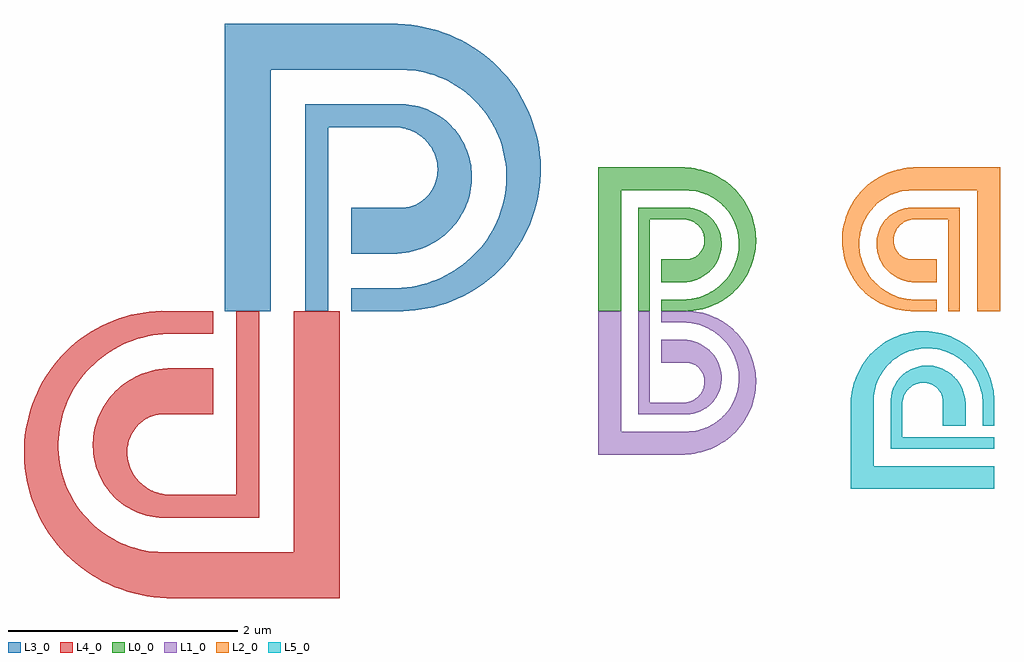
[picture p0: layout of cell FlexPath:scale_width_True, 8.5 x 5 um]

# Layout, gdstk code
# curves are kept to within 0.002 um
import gdstk
lib = gdstk.Library(unit=1e-6, precision=1e-12)
def P(c, l, *ps):  # polygons
    for p in ps: c.add(gdstk.Polygon(p, *l))
L0_0 = (0, 0)
L1_0 = (1, 0)
L2_0 = (2, 0)
L3_0 = (3, 0)
L4_0 = (4, 0)
L5_0 = (5, 0)

flexpath_scale_width_tru = lib.new_cell('FlexPath:scale_width_True')
P(flexpath_scale_width_tru, L0_0, [(0.1,0),(0.2,0),(0.2,0.8),(0.4974,0.8),(0.5233,0.7967),(0.557,0.7867),(0.5951,0.7664),(0.6271,0.7386),(0.6517,0.7051),(0.6653,0.6754),(0.6733,0.6442),(0.6756,0.6126),(0.6722,0.5816),(0.6635,0.5522),(0.6499,0.5253),(0.6321,0.5016),(0.6048,0.4776),(0.5671,0.4582),(0.5266,0.4497),(0.3,0.45),(0.3,0.25),(0.5206,0.2516),(0.568,0.2599),(0.6122,0.2741),(0.6539,0.294),(0.7042,0.3286),(0.7373,0.3599),(0.7656,0.3952),(0.7888,0.4336),(0.8111,0.4887),(0.8211,0.5318),(0.8253,0.5902),(0.8215,0.6336),(0.8077,0.6896),(0.791,0.7291),(0.761,0.7772),(0.7333,0.8092),(0.6905,0.8451),(0.6549,0.8666),(0.617,0.8829),(0.5776,0.894),(0.5372,0.8996),(0.1,0.9)],
  [(-0.25,0),(-0.05,0),(-0.05,1.05),(0.5231,1.0502),(0.5836,1.0452),(0.6432,1.032),(0.7008,1.0108),(0.7553,0.9819),(0.8056,0.9459),(0.8364,0.9181),(0.8777,0.8714),(0.9017,0.8372),(0.9319,0.782),(0.9478,0.7431),(0.965,0.6821),(0.974,0.6191),(0.9744,0.5552),(0.9662,0.4915),(0.9494,0.4292),(0.9244,0.3694),(0.8913,0.3134),(0.8509,0.262),(0.8037,0.2163),(0.7506,0.1772),(0.6925,0.1454),(0.6304,0.1217),(0.5653,0.1064),(0.5208,0.1011),(0.3,0.1),(0.3,0),(0.5524,0.0009),(0.6328,0.0112),(0.7113,0.0323),(0.7619,0.0523),(0.8107,0.0767),(0.8794,0.1214),(0.9217,0.1563),(0.9609,0.1949),(1.0128,0.2592),(1.0425,0.3058),(1.068,0.3551),(1.089,0.4065),(1.1054,0.4597),(1.1169,0.5143),(1.1236,0.5698),(1.1241,0.654),(1.1182,0.7099),(1.1072,0.7652),(1.0815,0.846),(1.0584,0.8978),(1.0307,0.9474),(0.9809,1.0168),(0.9426,1.0593),(0.9006,1.0982),(0.8551,1.1333),(0.8066,1.1642),(0.7554,1.1907),(0.7019,1.2126),(0.6183,1.2362),(0.561,1.2457),(0.5035,1.25),(-0.25,1.25)])
P(flexpath_scale_width_tru, L1_0, [(0.2,0),(0.1,0),(0.1,-0.9),(0.5372,-0.8996),(0.604,-0.8872),(0.6549,-0.8666),(0.7018,-0.8369),(0.743,-0.799),(0.777,-0.7539),(0.7971,-0.7162),(0.8158,-0.662),(0.8234,-0.6192),(0.8245,-0.561),(0.8184,-0.5173),(0.8012,-0.4607),(0.7816,-0.4205),(0.7472,-0.3713),(0.7157,-0.3386),(0.6671,-0.3018),(0.6264,-0.2801),(0.583,-0.264),(0.5374,-0.2538),(0.5002,-0.25),(0.3,-0.25),(0.3,-0.45),(0.5334,-0.4504),(0.5736,-0.4607),(0.6106,-0.4819),(0.6369,-0.5072),(0.6537,-0.5317),(0.6662,-0.5594),(0.6736,-0.5892),(0.6755,-0.6205),(0.6719,-0.6521),(0.6624,-0.683),(0.6474,-0.7122),(0.6213,-0.7447),(0.5951,-0.7664),(0.557,-0.7867),(0.5233,-0.7967),(0.4974,-0.8),(0.2,-0.8)],
  [(-0.05,0),(-0.25,0),(-0.25,-1.25),(0.5035,-1.25),(0.561,-1.2457),(0.6466,-1.2296),(0.7289,-1.2022),(0.8066,-1.1642),(0.8551,-1.1333),(0.9006,-1.0982),(0.9623,-1.0385),(1.0152,-0.9712),(1.0584,-0.8978),(1.0815,-0.846),(1.0999,-0.7925),(1.1182,-0.7099),(1.1252,-0.6259),(1.1209,-0.542),(1.1118,-0.4869),(1.0978,-0.4329),(1.068,-0.3551),(1.0282,-0.2822),(0.9791,-0.2155),(0.9417,-0.1752),(0.9009,-0.1384),(0.8342,-0.0906),(0.7866,-0.0639),(0.7368,-0.0417),(0.6593,-0.0171),(0.6061,-0.0066),(0.5524,-0.0009),(0.3,0),(0.3,-0.1),(0.5208,-0.1011),(0.5653,-0.1064),(0.6304,-0.1217),(0.6925,-0.1454),(0.7506,-0.1772),(0.8037,-0.2163),(0.8652,-0.2785),(0.9032,-0.3316),(0.9336,-0.389),(0.956,-0.4497),(0.9726,-0.5339),(0.9751,-0.5978),(0.965,-0.6821),(0.9478,-0.7431),(0.9126,-0.8193),(0.8646,-0.8876),(0.8364,-0.9181),(0.7893,-0.9587),(0.7194,-1.002),(0.6819,-1.0187),(0.6235,-1.0373),(0.5836,-1.0452),(0.5231,-1.0502),(-0.05,-1.05)])
P(flexpath_scale_width_tru, L2_0, [(2.8,0),(2.9,0),(2.9,0.9),(2.4628,0.8996),(2.396,0.8872),(2.3451,0.8666),(2.2982,0.8369),(2.257,0.799),(2.223,0.7539),(2.2029,0.7162),(2.1842,0.662),(2.1766,0.6192),(2.1755,0.561),(2.1816,0.5173),(2.1988,0.4607),(2.2184,0.4205),(2.2528,0.3713),(2.2843,0.3386),(2.3329,0.3018),(2.3736,0.2801),(2.417,0.264),(2.4626,0.2538),(2.4998,0.25),(2.7,0.25),(2.7,0.45),(2.4666,0.4504),(2.4264,0.4607),(2.3894,0.4819),(2.3631,0.5072),(2.3463,0.5317),(2.3338,0.5594),(2.3264,0.5892),(2.3245,0.6205),(2.3281,0.6521),(2.3376,0.683),(2.3526,0.7122),(2.3787,0.7447),(2.4049,0.7664),(2.443,0.7867),(2.4767,0.7967),(2.5026,0.8),(2.8,0.8)],
  [(3.05,0),(3.25,0),(3.25,1.25),(2.4965,1.25),(2.439,1.2457),(2.3534,1.2296),(2.2711,1.2022),(2.1934,1.1642),(2.1449,1.1333),(2.0994,1.0982),(2.0377,1.0385),(1.9848,0.9712),(1.9416,0.8978),(1.9185,0.846),(1.9001,0.7925),(1.8818,0.7099),(1.8748,0.6259),(1.8791,0.542),(1.8882,0.4869),(1.9022,0.4329),(1.932,0.3551),(1.9718,0.2822),(2.0209,0.2155),(2.0583,0.1752),(2.0991,0.1384),(2.1658,0.0906),(2.2134,0.0639),(2.2632,0.0417),(2.3407,0.0171),(2.3939,0.0066),(2.4476,0.0009),(2.7,0),(2.7,0.1),(2.4792,0.1011),(2.4347,0.1064),(2.3696,0.1217),(2.3075,0.1454),(2.2494,0.1772),(2.1963,0.2163),(2.1348,0.2785),(2.0968,0.3316),(2.0664,0.389),(2.044,0.4497),(2.0274,0.5339),(2.0249,0.5978),(2.035,0.6821),(2.0522,0.7431),(2.0874,0.8193),(2.1354,0.8876),(2.1636,0.9181),(2.2107,0.9587),(2.2806,1.002),(2.3181,1.0187),(2.3764,1.0373),(2.4164,1.0452),(2.4769,1.0502),(3.05,1.05)])
P(flexpath_scale_width_tru, L3_0, [(-2.8,0),(-2.6,0),(-2.6,1.6),(-2.0053,1.6),(-1.9534,1.5933),(-1.886,1.5734),(-1.8543,1.5591),(-1.8098,1.5328),(-1.7826,1.5122),(-1.7458,1.4773),(-1.7242,1.4517),(-1.6966,1.4102),(-1.6694,1.3508),(-1.6534,1.2884),(-1.6489,1.2252),(-1.6556,1.1632),(-1.673,1.1044),(-1.7002,1.0506),(-1.7359,1.0033),(-1.7904,0.9553),(-1.8271,0.9332),(-1.8659,0.9164),(-1.906,0.9052),(-1.9468,0.8995),(-2.4,0.9),(-2.4,0.5),(-1.9995,0.5),(-1.9587,0.5032),(-1.864,0.5199),(-1.7756,0.5483),(-1.6922,0.588),(-1.6402,0.6204),(-1.5915,0.6572),(-1.5255,0.7198),(-1.4688,0.7903),(-1.4225,0.8673),(-1.3976,0.9215),(-1.3778,0.9774),(-1.3578,1.0636),(-1.351,1.122),(-1.3494,1.1804),(-1.3569,1.2672),(-1.3683,1.3239),(-1.3847,1.3791),(-1.4181,1.4582),(-1.446,1.5078),(-1.4781,1.5545),(-1.5334,1.6183),(-1.5747,1.6563),(-1.6189,1.6902),(-1.6901,1.7332),(-1.7659,1.7659),(-1.8449,1.788),(-1.9255,1.7992),(-2.8,1.8)],
  [(-3.5,0),(-3.1,0),(-3.1,2.1),(-1.9539,2.1005),(-1.8327,2.0903),(-1.7135,2.0639),(-1.5984,2.0216),(-1.4895,1.9639),(-1.3888,1.8917),(-1.3273,1.8362),(-1.2446,1.7428),(-1.1966,1.6744),(-1.1363,1.5641),(-1.1044,1.4861),(-1.0699,1.3642),(-1.052,1.2382),(-1.0512,1.1103),(-1.0676,0.983),(-1.1011,0.8584),(-1.1513,0.7389),(-1.2173,0.6267),(-1.2982,0.524),(-1.3925,0.4326),(-1.4987,0.3544),(-1.615,0.2909),(-1.7392,0.2433),(-1.8254,0.221),(-1.8693,0.2128),(-1.9584,0.2021),(-2.4,0.2),(-2.4,0),(-1.8951,0.0017),(-1.7877,0.0131),(-1.7344,0.0224),(-1.6291,0.0482),(-1.5773,0.0647),(-1.4761,0.1045),(-1.3786,0.1534),(-1.2857,0.211),(-1.2412,0.2429),(-1.1565,0.3126),(-1.0783,0.3898),(-1.0071,0.474),(-0.9744,0.5184),(-0.9149,0.6117),(-0.864,0.7101),(-0.8219,0.813),(-0.7892,0.9194),(-0.7661,1.0286),(-0.7529,1.1397),(-0.7496,1.2518),(-0.7518,1.3079),(-0.7637,1.4198),(-0.7856,1.5304),(-0.8174,1.6389),(-0.8369,1.692),(-0.8832,1.7956),(-0.9386,1.8948),(-1.0029,1.9888),(-1.0382,2.0337),(-1.1147,2.1185),(-1.1988,2.1964),(-1.2897,2.2665),(-1.3867,2.3284),(-1.4892,2.3814),(-1.5962,2.4251),(-1.7069,2.4592),(-1.7634,2.4724),(-1.878,2.4914),(-1.9931,2.5),(-3.5,2.5)])
P(flexpath_scale_width_tru, L4_0, [(-3.2,0),(-3.4,0),(-3.4,-1.6),(-3.9947,-1.6),(-4.0466,-1.5933),(-4.114,-1.5734),(-4.1457,-1.5591),(-4.1902,-1.5328),(-4.2174,-1.5122),(-4.2542,-1.4773),(-4.2758,-1.4517),(-4.3034,-1.4102),(-4.3306,-1.3508),(-4.3466,-1.2884),(-4.3511,-1.2252),(-4.3444,-1.1632),(-4.327,-1.1044),(-4.2998,-1.0506),(-4.2641,-1.0033),(-4.2096,-0.9553),(-4.1729,-0.9332),(-4.1341,-0.9164),(-4.094,-0.9052),(-4.0532,-0.8995),(-3.6,-0.9),(-3.6,-0.5),(-4.0005,-0.5),(-4.0413,-0.5032),(-4.136,-0.5199),(-4.2244,-0.5483),(-4.3078,-0.588),(-4.3598,-0.6204),(-4.4085,-0.6572),(-4.4745,-0.7198),(-4.5312,-0.7903),(-4.5775,-0.8673),(-4.6024,-0.9215),(-4.6222,-0.9774),(-4.6422,-1.0636),(-4.649,-1.122),(-4.6506,-1.1804),(-4.6431,-1.2672),(-4.6317,-1.3239),(-4.6153,-1.3791),(-4.5819,-1.4582),(-4.554,-1.5078),(-4.5219,-1.5545),(-4.4666,-1.6183),(-4.4253,-1.6563),(-4.3811,-1.6902),(-4.3099,-1.7332),(-4.2341,-1.7659),(-4.1551,-1.788),(-4.0745,-1.7992),(-3.2,-1.8)],
  [(-2.5,0),(-2.9,0),(-2.9,-2.1),(-4.0461,-2.1005),(-4.1673,-2.0903),(-4.2865,-2.0639),(-4.4016,-2.0216),(-4.5105,-1.9639),(-4.6112,-1.8917),(-4.6727,-1.8362),(-4.7554,-1.7428),(-4.8034,-1.6744),(-4.8637,-1.5641),(-4.8956,-1.4861),(-4.9301,-1.3642),(-4.948,-1.2382),(-4.9488,-1.1103),(-4.9324,-0.983),(-4.8989,-0.8584),(-4.8487,-0.7389),(-4.7827,-0.6267),(-4.7018,-0.524),(-4.6075,-0.4326),(-4.5013,-0.3544),(-4.385,-0.2909),(-4.2608,-0.2433),(-4.1746,-0.221),(-4.1307,-0.2128),(-4.0416,-0.2021),(-3.6,-0.2),(-3.6,0),(-4.1049,-0.0017),(-4.2123,-0.0131),(-4.2656,-0.0224),(-4.3709,-0.0482),(-4.4227,-0.0647),(-4.5239,-0.1045),(-4.6214,-0.1534),(-4.7143,-0.211),(-4.7588,-0.2429),(-4.8435,-0.3126),(-4.9217,-0.3898),(-4.9929,-0.474),(-5.0256,-0.5184),(-5.0851,-0.6117),(-5.136,-0.7101),(-5.1781,-0.813),(-5.2108,-0.9194),(-5.2339,-1.0286),(-5.2471,-1.1397),(-5.2504,-1.2518),(-5.2482,-1.3079),(-5.2363,-1.4198),(-5.2144,-1.5304),(-5.1826,-1.6389),(-5.1631,-1.692),(-5.1168,-1.7956),(-5.0614,-1.8948),(-4.9971,-1.9888),(-4.9618,-2.0337),(-4.8853,-2.1185),(-4.8012,-2.1964),(-4.7103,-2.2665),(-4.6133,-2.3284),(-4.5108,-2.3814),(-4.4038,-2.4251),(-4.2931,-2.4592),(-4.2366,-2.4724),(-4.122,-2.4914),(-4.0069,-2.5),(-2.5,-2.5)])
P(flexpath_scale_width_tru, L5_0, [(3.2,-1.2),(3.2,-1.1),(2.4,-1.1),(2.4,-0.8026),(2.4033,-0.7767),(2.4133,-0.743),(2.4336,-0.7049),(2.4614,-0.6729),(2.4949,-0.6483),(2.5246,-0.6347),(2.5558,-0.6267),(2.5874,-0.6244),(2.6184,-0.6278),(2.6478,-0.6365),(2.6747,-0.6501),(2.6984,-0.6679),(2.7224,-0.6952),(2.7418,-0.7329),(2.7503,-0.7734),(2.75,-1),(2.95,-1),(2.9484,-0.7794),(2.9401,-0.732),(2.9259,-0.6878),(2.906,-0.6461),(2.8714,-0.5958),(2.8401,-0.5627),(2.8048,-0.5344),(2.7664,-0.5112),(2.7113,-0.4889),(2.6682,-0.4789),(2.6098,-0.4747),(2.5664,-0.4785),(2.5104,-0.4923),(2.4709,-0.509),(2.4228,-0.539),(2.3908,-0.5667),(2.3549,-0.6095),(2.3334,-0.6451),(2.3171,-0.683),(2.306,-0.7224),(2.3004,-0.7628),(2.3,-1.2)],
  [(3.2,-1.55),(3.2,-1.35),(2.15,-1.35),(2.1498,-0.7769),(2.1548,-0.7164),(2.168,-0.6568),(2.1892,-0.5992),(2.2181,-0.5447),(2.2541,-0.4944),(2.2819,-0.4636),(2.3286,-0.4223),(2.3628,-0.3983),(2.418,-0.3681),(2.4569,-0.3522),(2.5179,-0.335),(2.5809,-0.326),(2.6448,-0.3256),(2.7085,-0.3338),(2.7708,-0.3506),(2.8306,-0.3756),(2.8866,-0.4087),(2.938,-0.4491),(2.9837,-0.4963),(3.0228,-0.5494),(3.0546,-0.6075),(3.0783,-0.6696),(3.0936,-0.7347),(3.0989,-0.7792),(3.1,-1),(3.2,-1),(3.1991,-0.7476),(3.1888,-0.6672),(3.1677,-0.5887),(3.1477,-0.5381),(3.1233,-0.4893),(3.0786,-0.4206),(3.0437,-0.3783),(3.0051,-0.3391),(2.9408,-0.2872),(2.8942,-0.2575),(2.8449,-0.232),(2.7935,-0.211),(2.7403,-0.1946),(2.6857,-0.1831),(2.6302,-0.1764),(2.546,-0.1759),(2.4901,-0.1818),(2.4348,-0.1928),(2.354,-0.2185),(2.3022,-0.2416),(2.2526,-0.2693),(2.1832,-0.3191),(2.1407,-0.3574),(2.1018,-0.3994),(2.0667,-0.4449),(2.0358,-0.4934),(2.0093,-0.5446),(1.9874,-0.5981),(1.9638,-0.6817),(1.9543,-0.739),(1.95,-0.7965),(1.95,-1.55)])

lib.write_gds('FlexPath_scale_width_True.gds')
